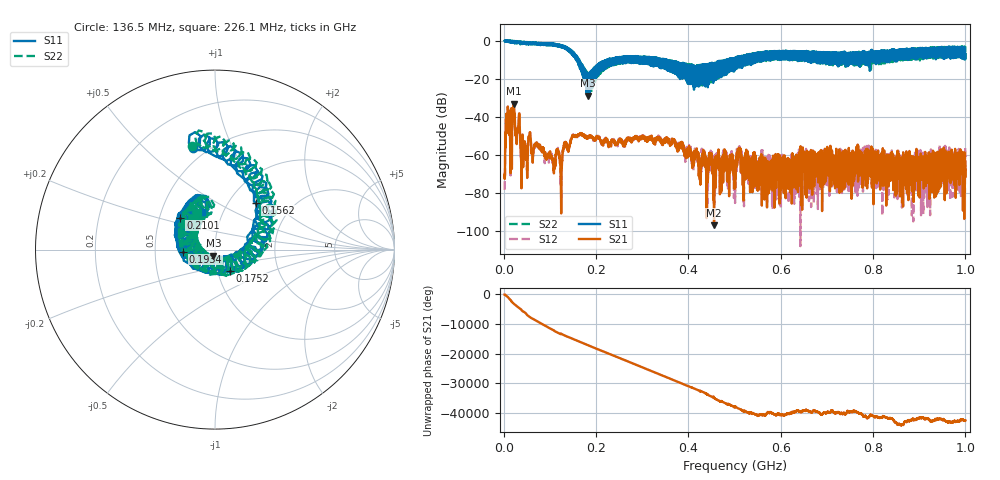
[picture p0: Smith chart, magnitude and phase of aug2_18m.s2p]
!Keysight Technologies N9923A: A.12.45
!Date: Saturday, 02 August 2025 19:05:53
!Timezone: (UTC+08:00) Kuala Lumpur, Singapore
!Model: N9923A
!Serial: MY61181427
!GPS Latitude:
!GPS Longitude:
!GPS TimeStamp: 0001-01-01 00:00:00Z
!GPS Seconds Since Last Read: 0
!CHECKSUM:1359037922
!Correction: S11(ON U)S21(ON U)S12(ON U)S22(ON U)
!S2P File: Measurements:S11,S21,S12,S22:
# Hz S DB R 50
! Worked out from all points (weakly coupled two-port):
!   4001 points, 2 MHz to 1 GHz, reference 50 ohm
!   highest |S21| = -33.21 dB at 21.71 MHz (marker M1); lowest = -97.2 dB at 455.6 MHz (marker M2)
!   lowest |S11| = -28.9 dB at 182.9 MHz (marker M3), VSWR 1.07, Z = 49 - j3.4 ohm
!   |S11| at or under -10 dB: 162.5 MHz to 223.5 MHz (61.03 MHz wide, 31.6 % of centre); 223.6 MHz to 225.3 MHz (1.611 MHz wide, 0.718 % of centre); 351.1 MHz to 484.7 MHz (133.6 MHz wide, 32 % of centre) (the widest 3 of 263)
!   |S22| runs from -29.1 to 0.1 dB; largest |S21 - S12| = 0.0027
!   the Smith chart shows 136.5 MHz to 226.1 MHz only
!   S11 on the Smith chart (normalised r, x): 136.5 MHz: 0.42, +0.72; 156.2 MHz: 1.32, +0.79; 175.2 MHz: 1.14, -0.28; 193.4 MHz: 0.70, -0.02; 210.1 MHz: 0.64, +0.25; 226.1 MHz: 0.80, +0.35
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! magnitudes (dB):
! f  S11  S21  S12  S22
! 2 MHz  -0.1  -71.2  -78.4  -0.1
! 8.238 MHz  0.1  -45.4  -45.2  0.1
! 21.71 MHz  -0.2  -33.2  -33.8  -0.8
! 47.16 MHz  -1.4  -56.1  -56.0  -0.8
! 57.39 MHz  -1.3  -48.6  -48.3  -1.5
! 123.3 MHz  -3.3  -68.5  -75.5  -3.3
! 136.5 MHz  -4.8  -55.2  -55.2  -4.5
! 156.2 MHz  -9.2  -49.9  -49.9  -8.3
! 168.4 MHz  -14.7  -48.7  -48.6  -15.4
! 175.2 MHz  -16.8  -50.5  -50.4  -18.7
! 182.9 MHz  -28.9  -50.9  -50.8  -24.1
! 193.4 MHz  -14.9  -51.1  -51.9  -17.8
! 210.1 MHz  -11.6  -52.8  -53.5  -13.2
! 226.1 MHz  -13.2  -54.3  -55.1  -12.7
! 334.8 MHz  -11.7  -51.1  -51.0  -9.8
! 455.6 MHz  -21.1  -97.2  -85.4  -14.4
! 501 MHz  -12.3  -77.6  -67.9  -13.4
! 510 MHz  -8.2  -60.9  -58.2  -10.7
! 595.3 MHz  -5.5  -72.4  -63.2  -9.6
! 667.4 MHz  -6.7  -76.4  -62.9  -10.3
! 833.8 MHz  -6.7  -64.3  -64.5  -7.8
! 1 GHz  -7.1  -67.8  -69.6  -3.0
